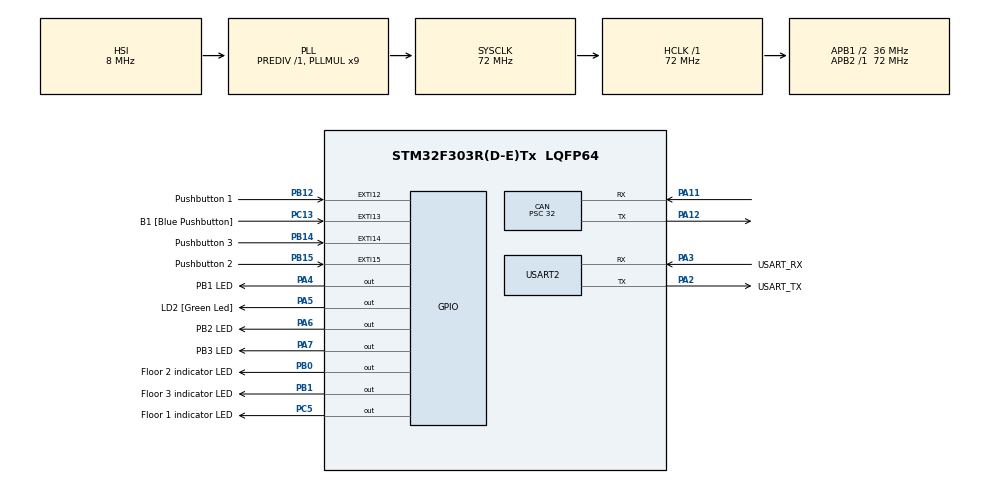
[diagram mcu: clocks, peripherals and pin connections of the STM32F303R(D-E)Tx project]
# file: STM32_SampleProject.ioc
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CAN.BS1=CAN_BS1_4TQ
CAN.BS2=CAN_BS2_4TQ
CAN.CalculateBaudRate=125000
CAN.CalculateTimeBit=8000
CAN.CalculateTimeQuantum=888.8888888888889
CAN.Prescaler=32
Mcu.Family=STM32F3
Mcu.Name=STM32F303R(D-E)Tx
Mcu.Package=LQFP64
NVIC.EXTI15_10_IRQn=true\:0\:0\:false\:false\:true\:true\:true\:true
NVIC.PriorityGroup=NVIC_PRIORITYGROUP_0
NVIC.USB_LP_CAN_RX0_IRQn=true\:0\:0\:false\:false\:true\:true\:true\:true
PA11.Mode=CAN_Activate
PA11.Signal=CAN_RX
PA12.Mode=CAN_Activate
PA12.Signal=CAN_TX
PA13.GPIO_Label=TMS
PA13.Mode=Serial_Wire
PA13.Signal=SYS_JTMS-SWDIO
PA14.GPIO_Label=TCK
PA14.Mode=Serial_Wire
PA14.Signal=SYS_JTCK-SWCLK
PA2.GPIO_Label=USART_TX
PA2.GPIO_Mode=GPIO_MODE_AF_PP
PA2.GPIO_PuPd=GPIO_NOPULL
PA2.GPIO_Speed=GPIO_SPEED_FREQ_LOW
PA2.Mode=Asynchronous
PA2.Signal=USART2_TX
PA3.GPIO_Label=USART_RX
PA3.GPIO_Mode=GPIO_MODE_AF_PP
PA3.GPIO_PuPd=GPIO_NOPULL
PA3.GPIO_Speed=GPIO_SPEED_FREQ_LOW
PA3.Mode=Asynchronous
PA3.Signal=USART2_RX
PA4.GPIO_Label=PB1 LED
PA4.Signal=GPIO_Output
PA5.GPIO_Label=LD2 [Green Led]
PA5.GPIO_Mode=GPIO_MODE_OUTPUT_PP
PA5.GPIO_PuPd=GPIO_NOPULL
PA5.GPIO_Speed=GPIO_SPEED_FREQ_LOW
PA5.Signal=GPIO_Output
PA6.GPIO_Label=PB2 LED
PA6.Signal=GPIO_Output
PA7.GPIO_Label=PB3 LED
PA7.Signal=GPIO_Output
PB0.GPIO_Label=Floor 2 indicator LED
PB0.Signal=GPIO_Output
PB1.GPIO_Label=Floor 3 indicator LED
PB1.Signal=GPIO_Output
PB12.GPIO_Label=Pushbutton 1
PB12.GPIO_ModeDefaultEXTI=GPIO_MODE_IT_FALLING
PB12.Signal=GPXTI12
PB14.GPIO_Label=Pushbutton 3
PB14.GPIO_ModeDefaultEXTI=GPIO_MODE_IT_FALLING
PB14.Signal=GPXTI14
PB15.GPIO_Label=Pushbutton 2
PB15.GPIO_ModeDefaultEXTI=GPIO_MODE_IT_FALLING
PB15.Signal=GPXTI15
PB3.GPIO_Label=SWO
PB3.Signal=SYS_JTDO-TRACESWO
PC13.GPIO_Label=B1 [Blue Pushbutton]
PC13.Signal=GPXTI13
PC14-OSC32_IN.Mode=LSE-External-Oscillator
PC14-OSC32_IN.Signal=RCC_OSC32_IN
PC15-OSC32_OUT.Mode=LSE-External-Oscillator
PC15-OSC32_OUT.Signal=RCC_OSC32_OUT
PC5.GPIO_Label=Floor 1 indicator LED
PC5.Signal=GPIO_Output
PF0-OSC_IN.Mode=HSE-External-Clock-Source
PF0-OSC_IN.Signal=RCC_OSC_IN
PF1-OSC_OUT.Signal=RCC_OSC_OUT
ProjectManager.HeapSize=0x200
ProjectManager.StackSize=0x400
ProjectManager.TargetToolchain=STM32CubeIDE
RCC.AHBFreq_Value=72000000
RCC.APB1CLKDivider=RCC_HCLK_DIV2
RCC.APB1Freq_Value=36000000
RCC.APB1TimFreq_Value=72000000
RCC.APB2Freq_Value=72000000
RCC.APB2TimFreq_Value=72000000
RCC.CortexFreq_Value=72000000
RCC.HCLKFreq_Value=72000000
RCC.HSE_VALUE=8000000
RCC.HSI_VALUE=8000000
RCC.PLLM=8
RCC.PLLMUL=RCC_PLL_MUL9
RCC.PLLN=336
RCC.PLLP=RCC_PLLP_DIV4
RCC.PLLQ=7
RCC.RCC_PLLsource_Clock_Source_FROM_HSE=RCC_HSE_PREDIV_DIV2
RCC.SYSCLKFreq_VALUE=72000000
RCC.SYSCLKSourceVirtual=RCC_SYSCLKSOURCE_PLLCLK
RCC.USBFreq_Value=72000000
USART2.VirtualMode-Asynchronous=VM_ASYNC
board=NUCLEO-F303RE

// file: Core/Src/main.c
/* USER CODE BEGIN Header */
/**
  ******************************************************************************
  * @file           : main.c
  * @brief          : Main program body
  ******************************************************************************
  * @attention
  *
  * Copyright (c) 2023 STMicroelectronics.
  * All rights reserved.
  *
  * This software is licensed under terms that can be found in the LICENSE file
  * in the root directory of this software component.
  * If no LICENSE file comes with this software, it is provided AS-IS.
  *
  ******************************************************************************
  */
/* USER CODE END Header */
#include "main.h"

/* USER CODE BEGIN PD */
/* Private Defines */
#define SUPERVISORY_CONTROLLER_ID	0x0100
#define GO_TO_FLOOR_1				0x05	// TODO: Make the GOT_FLOOR_X into an enum
#define GO_TO_FLOOR_2				0x06
#define GO_TO_FLOOR_3				0x07
#define NO_BUTTON_PRESSED			0
#define BLUE_BUTTON_PRESSED			1
#define CAN_BYTES_PER_FRAME			8

/* USER CODE END PD */

CAN_HandleTypeDef hcan;

UART_HandleTypeDef huart2;

/* USER CODE BEGIN PV */

/* Private variables */
CAN_TxHeaderTypeDef	TxHeader;
CAN_RxHeaderTypeDef	RxHeader;
uint8_t				TxData[CAN_BYTES_PER_FRAME];
uint8_t				RxData[CAN_BYTES_PER_FRAME];
uint32_t			TxMailbox;
uint8_t 			msg = GO_TO_FLOOR_1; // TODO: Change this when we add more buttons.
uint8_t 			BUTTON = NO_BUTTON_PRESSED;

/* USER CODE END PV */

void SystemClock_Config(void);
static void MX_GPIO_Init(void);
static void MX_USART2_UART_Init(void);
static void MX_CAN_Init(void);

int main(void)
{

  /* MCU Configuration--------------------------------------------------------*/

  /* Reset of all peripherals, Initializes the Flash interface and the Systick. */
  HAL_Init();

  /* Configure the system clock */
  SystemClock_Config();

  /* Initialize all configured peripherals */
  MX_GPIO_Init();
  MX_USART2_UART_Init();
  MX_CAN_Init();

  /* Infinite loop */
  while (1)
  {

    /* USER CODE BEGIN 3 */
	// TODO: Why is this here? The STM32s don't need to receive any messages from the CAN.
	// Receive
	if (RxData[0] == GO_TO_FLOOR_1) {
	  HAL_GPIO_TogglePin(GPIOA, GPIO_PIN_5);  											// Turn on LED2
	  HAL_Delay(2000);					    											// Keep LED on for 2 seconds
	  for (int i=0; i<8; i++) {
		  RxData[i] = 0x00;																// Reset the RxData[] buffer (used as flag)
	  }
	  HAL_GPIO_TogglePin(GPIOA, GPIO_PIN_5);  											// Turn off LED2
	  HAL_Delay(100);																	// Need a delay after toggle
	}

	 // Transmit
	 if (BUTTON != NO_BUTTON_PRESSED) {
		 if (BUTTON == BLUE_BUTTON_PRESSED) {												// Blue button pressed --> Turn on LED2 for 2 seconds and Transmit message
			 HAL_GPIO_TogglePin(GPIOA, GPIO_PIN_5);  										// Turn on LED2
			 HAL_Delay(2000);																// Leave it on for 2 seconds
			 TxData[0] = msg;																// Store the 1 character message to transmit into the TxData buffer and transmit over the CAN bus
			 if (HAL_CAN_AddTxMessage(&hcan, &TxHeader, TxData, &TxMailbox) != HAL_OK) {	// Transmit the message
				Error_Handler();															// Transmission error
			 }
			 HAL_GPIO_TogglePin(GPIOA, GPIO_PIN_5);  										// Turn off LED2
			 BUTTON = NO_BUTTON_PRESSED; 													// Reset the BUTTON flag
		 }
	 }
  }
  /* USER CODE END 3 */
}

void SystemClock_Config(void)
{
  RCC_OscInitTypeDef RCC_OscInitStruct = {0};
  RCC_ClkInitTypeDef RCC_ClkInitStruct = {0};
  RCC_PeriphCLKInitTypeDef PeriphClkInit = {0};

  /** Initializes the RCC Oscillators according to the specified parameters
  * in the RCC_OscInitTypeDef structure.
  */
  RCC_OscInitStruct.OscillatorType = RCC_OSCILLATORTYPE_HSI;
  RCC_OscInitStruct.HSIState = RCC_HSI_ON;
  RCC_OscInitStruct.HSICalibrationValue = RCC_HSICALIBRATION_DEFAULT;
  RCC_OscInitStruct.PLL.PLLState = RCC_PLL_ON;
  RCC_OscInitStruct.PLL.PLLSource = RCC_PLLSOURCE_HSI;
  RCC_OscInitStruct.PLL.PLLMUL = RCC_PLL_MUL9;
  RCC_OscInitStruct.PLL.PREDIV = RCC_PREDIV_DIV1;
  if (HAL_RCC_OscConfig(&RCC_OscInitStruct) != HAL_OK)
  {
    Error_Handler();
  }

  /** Initializes the CPU, AHB and APB buses clocks
  */
  RCC_ClkInitStruct.ClockType = RCC_CLOCKTYPE_HCLK|RCC_CLOCKTYPE_SYSCLK
                              |RCC_CLOCKTYPE_PCLK1|RCC_CLOCKTYPE_PCLK2;
  RCC_ClkInitStruct.SYSCLKSource = RCC_SYSCLKSOURCE_PLLCLK;
  RCC_ClkInitStruct.AHBCLKDivider = RCC_SYSCLK_DIV1;
  RCC_ClkInitStruct.APB1CLKDivider = RCC_HCLK_DIV2;
  RCC_ClkInitStruct.APB2CLKDivider = RCC_HCLK_DIV1;

  if (HAL_RCC_ClockConfig(&RCC_ClkInitStruct, FLASH_LATENCY_2) != HAL_OK)
  {
    Error_Handler();
  }
  PeriphClkInit.PeriphClockSelection = RCC_PERIPHCLK_USART2;
  PeriphClkInit.Usart2ClockSelection = RCC_USART2CLKSOURCE_PCLK1;
  if (HAL_RCCEx_PeriphCLKConfig(&PeriphClkInit) != HAL_OK)
  {
    Error_Handler();
  }
}

static void MX_CAN_Init(void)
{

  hcan.Instance = CAN;
  hcan.Init.Prescaler = 32;
  hcan.Init.Mode = CAN_MODE_NORMAL;
  hcan.Init.SyncJumpWidth = CAN_SJW_1TQ;
  hcan.Init.TimeSeg1 = CAN_BS1_4TQ;
  hcan.Init.TimeSeg2 = CAN_BS2_4TQ;
  hcan.Init.TimeTriggeredMode = DISABLE;
  hcan.Init.AutoBusOff = DISABLE;
  hcan.Init.AutoWakeUp = DISABLE;
  hcan.Init.AutoRetransmission = DISABLE;
  hcan.Init.ReceiveFifoLocked = DISABLE;
  hcan.Init.TransmitFifoPriority = DISABLE;
  if (HAL_CAN_Init(&hcan) != HAL_OK)
  {
    Error_Handler();
  }
  /* USER CODE BEGIN CAN_Init 2 */

  /****************************************************************************************/

      /* *** Set up CAN Rx filters *** */
      CAN_FilterTypeDef filter;  							// This is one of the 13 filters - can create more filters - this one will be number 0

      /* Configure filter 0 to direct everything to FIFO 0 */
      filter.FilterBank = 0;							// This is filter number 0
      filter.FilterIdHigh = 0x0100 << 5;      			// Set FilterIdHigh bits by choosing an ID and aligning the bits in the filter register with the receive register by shifting << 5  (See Second lecture in CAN series - last few slides)
      filter.FilterIdLow = 0x0000;						// Not using FilterIdLow bits (set as don't care)
      filter.FilterMaskIdHigh = 0xFFC <<5;				// Same as example in lecture (this gives a range of ID's that will be accepted of between 0x100 and 0x103). Must also align the bits in the Mask register with those in the receive register.
      filter.FilterMaskIdLow = 0x0000;					// Not using FilterMaskLow bits (set as don't care)
      filter.FilterFIFOAssignment = CAN_FILTER_FIFO0;
      filter.FilterMode = CAN_FILTERMODE_IDMASK; 		// uses mask mode (so can set range of IDs)
      filter.FilterScale = CAN_FILTERSCALE_32BIT;		// Use 32 bit filters (doesn't really matter if we use 16 or 32 bit since we are using mask)
      filter.FilterActivation = ENABLE;					// By default the filters are disabled so enable them
      filter.SlaveStartFilterBank = 0;

      if(HAL_CAN_ConfigFilter(&hcan, &filter) != HAL_OK) {	// Set the above values for filter 0
    	Error_Handler();
      }

      /* *** Start the CAN peripheral *** */
      if (HAL_CAN_Start(&hcan) != HAL_OK) {
    	  Error_Handler();
      }

      /* *** Activate CAN Rx notification interrupt *** */
      if (HAL_CAN_ActivateNotification(&hcan, CAN_IT_RX_FIFO0_MSG_PENDING) != HAL_OK) {
    	  Error_Handler();
      }

      /* *** Prepare header fields for Standard Mode CAN Transmission *** */
      TxHeader.IDE = CAN_ID_STD;		 				// Using standard mode. Note this = CAN_ID_EXT for extended mode
      TxHeader.ExtId = 0x00;			 				// Extended ID is not used
      TxHeader.StdId = SUPERVISORY_CONTROLLER_ID;	 	// Standard mode ID is 0x100 -- CHANGE THIS LATER ---
      TxHeader.RTR = CAN_RTR_DATA;	 					// Send a data frame not an RTR
      TxHeader.DLC = 1;				 					// Data length code = 1 (only send one byte)
      TxHeader.TransmitGlobalTime = DISABLE;

      /****************************************************************************************/

  /* USER CODE END CAN_Init 2 */

}

static void MX_USART2_UART_Init(void)
{

  huart2.Instance = USART2;
  huart2.Init.BaudRate = 38400;
  huart2.Init.WordLength = UART_WORDLENGTH_8B;
  huart2.Init.StopBits = UART_STOPBITS_1;
  huart2.Init.Parity = UART_PARITY_NONE;
  huart2.Init.Mode = UART_MODE_TX_RX;
  huart2.Init.HwFlowCtl = UART_HWCONTROL_NONE;
  huart2.Init.OverSampling = UART_OVERSAMPLING_16;
  huart2.Init.OneBitSampling = UART_ONE_BIT_SAMPLE_DISABLE;
  huart2.AdvancedInit.AdvFeatureInit = UART_ADVFEATURE_NO_INIT;
  if (HAL_UART_Init(&huart2) != HAL_OK)
  {
    Error_Handler();
  }

}

static void MX_GPIO_Init(void)
{
  GPIO_InitTypeDef GPIO_InitStruct = {0};

  /* GPIO Ports Clock Enable */
  __HAL_RCC_GPIOC_CLK_ENABLE();
  __HAL_RCC_GPIOF_CLK_ENABLE();
  __HAL_RCC_GPIOA_CLK_ENABLE();
  __HAL_RCC_GPIOB_CLK_ENABLE();

  /*Configure GPIO pin Output Level */
  HAL_GPIO_WritePin(GPIOA, PB1_LED_Pin|LD2_Pin|PB2_LED_Pin|PB3_LED_Pin, GPIO_PIN_RESET);

  /*Configure GPIO pin Output Level */
  HAL_GPIO_WritePin(Floor_1_indicator_LED_GPIO_Port, Floor_1_indicator_LED_Pin, GPIO_PIN_RESET);

  /*Configure GPIO pin Output Level */
  HAL_GPIO_WritePin(GPIOB, Floor_2_indicator_LED_Pin|Floor_3_indicator_LED_Pin, GPIO_PIN_RESET);

  /*Configure GPIO pin : B1_Pin */
  GPIO_InitStruct.Pin = B1_Pin;
  GPIO_InitStruct.Mode = GPIO_MODE_IT_RISING;
  GPIO_InitStruct.Pull = GPIO_NOPULL;
  HAL_GPIO_Init(B1_GPIO_Port, &GPIO_InitStruct);

  /*Configure GPIO pins : PB1_LED_Pin LD2_Pin PB2_LED_Pin PB3_LED_Pin */
  GPIO_InitStruct.Pin = PB1_LED_Pin|LD2_Pin|PB2_LED_Pin|PB3_LED_Pin;
  GPIO_InitStruct.Mode = GPIO_MODE_OUTPUT_PP;
  GPIO_InitStruct.Pull = GPIO_NOPULL;
  GPIO_InitStruct.Speed = GPIO_SPEED_FREQ_LOW;
  HAL_GPIO_Init(GPIOA, &GPIO_InitStruct);

  /*Configure GPIO pin : Floor_1_indicator_LED_Pin */
  GPIO_InitStruct.Pin = Floor_1_indicator_LED_Pin;
  GPIO_InitStruct.Mode = GPIO_MODE_OUTPUT_PP;
  GPIO_InitStruct.Pull = GPIO_NOPULL;
  GPIO_InitStruct.Speed = GPIO_SPEED_FREQ_LOW;
  HAL_GPIO_Init(Floor_1_indicator_LED_GPIO_Port, &GPIO_InitStruct);

  /*Configure GPIO pins : Floor_2_indicator_LED_Pin Floor_3_indicator_LED_Pin */
  GPIO_InitStruct.Pin = Floor_2_indicator_LED_Pin|Floor_3_indicator_LED_Pin;
  GPIO_InitStruct.Mode = GPIO_MODE_OUTPUT_PP;
  GPIO_InitStruct.Pull = GPIO_NOPULL;
  GPIO_InitStruct.Speed = GPIO_SPEED_FREQ_LOW;
  HAL_GPIO_Init(GPIOB, &GPIO_InitStruct);

  /*Configure GPIO pins : Pushbutton_1_Pin Pushbutton_3_Pin Pushbutton_2_Pin */
  GPIO_InitStruct.Pin = Pushbutton_1_Pin|Pushbutton_3_Pin|Pushbutton_2_Pin;
  GPIO_InitStruct.Mode = GPIO_MODE_IT_FALLING;
  GPIO_InitStruct.Pull = GPIO_NOPULL;
  HAL_GPIO_Init(GPIOB, &GPIO_InitStruct);

  /* EXTI interrupt init*/
  HAL_NVIC_SetPriority(EXTI15_10_IRQn, 0, 0);
  HAL_NVIC_EnableIRQ(EXTI15_10_IRQn);

}

/* USER CODE BEGIN 4 */

/************************************************************************************************ */

// Override the HAL_CAN_RxFifo0MsgPendingCallback function.
// This is called when the interrupt for FIFO0 is triggered.
/****************************************************************************************** */
void HAL_CAN_RxFifo0MsgPendingCallback(CAN_HandleTypeDef *hcan)
{
	/* Get RX message and store in RxData[] buffer */
	  if (HAL_CAN_GetRxMessage(hcan, CAN_RX_FIFO0, &RxHeader, RxData) != HAL_OK)
	  {
	    /* Reception Error */
	    Error_Handler();
	  }
}

/* ******************************************************************************************** */

// Override the HAL_GPIO Callback -- 1. light up LED2 and 2. Transmit message when the blue button is pushed
void HAL_GPIO_EXTI_Callback(uint16_t GPIO_Pin)
{
  // Set the BUTTON Flag to indicate which button was pressed
  if (GPIO_Pin == GPIO_PIN_13)					// GPIO pin 13 is the blue push button
  {
	  BUTTON = BLUE_BUTTON_PRESSED;
  }
  // TODO: Add other buttons.

}

/************************************************************************************************ */

/* USER CODE END 4 */

void Error_Handler(void)
{
  __disable_irq();
  while (1)
  {
  }
}
